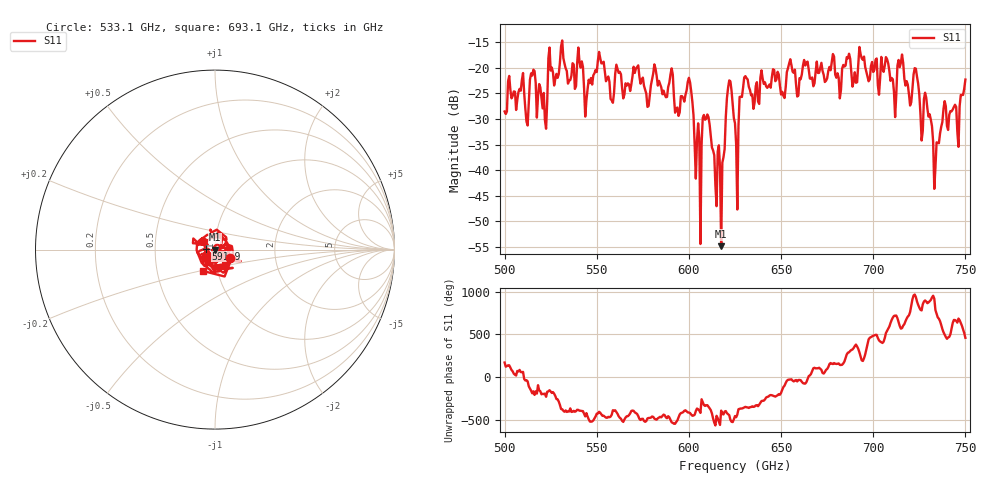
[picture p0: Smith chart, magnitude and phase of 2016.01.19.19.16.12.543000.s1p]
!Created with skrf (http://scikit-rf.org).
# GHz S RI R 50.0
!freq ReS11 ImS11
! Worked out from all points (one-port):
!   401 points, 500 GHz to 750 GHz, reference 50 ohm
!   lowest |S11| = -54.8 dB at 617.5 GHz (marker M1), VSWR 1.00, Z = 50.2 - j0.0972 ohm
!   |S11| at or under -10 dB: start of sweep to end of sweep
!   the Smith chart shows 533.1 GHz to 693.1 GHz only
!   S11 on the Smith chart (normalised r, x): 533.1 GHz: 1.18, -0.12; 591.9 GHz: 0.90, +0.01; 693.1 GHz: 0.86, -0.21
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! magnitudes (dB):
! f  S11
! 500 GHz  -28.5
! 508.8 GHz  -24.5
! 511.9 GHz  -30.5
! 515 GHz  -21.5
! 521.9 GHz  -30.2
! 525 GHz  -20.6
! 531.2 GHz  -14.7
! 533.1 GHz  -20.1
! 562.5 GHz  -20.8
! 591.9 GHz  -25.7
! 593.8 GHz  -27.8
! 600 GHz  -22.0
! 605 GHz  -30.9
! 609.4 GHz  -29.9
! 617.5 GHz  -54.8
! 621.9 GHz  -22.5
! 625 GHz  -30.8
! 630.6 GHz  -21.7
! 656.2 GHz  -20.8
! 687.5 GHz  -18.2
! 693.1 GHz  -17.3
! 715 GHz  -19.0
! 718.8 GHz  -23.3
! 723.1 GHz  -20.2
! 734.4 GHz  -34.6
! 738.1 GHz  -28.0
! 745.6 GHz  -32.5
! 750 GHz  -22.3
